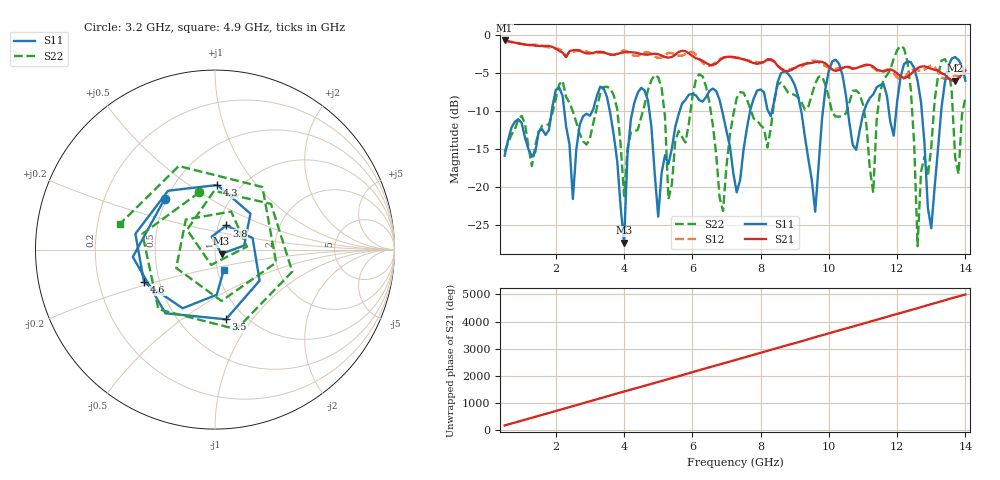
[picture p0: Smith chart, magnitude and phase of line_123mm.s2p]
!Created with skrf (http://scikit-rf.org).
# GHz S RI R 50.0
!freq ReS11 ImS11 ReS21 ImS21 ReS12 ImS12 ReS22 ImS22
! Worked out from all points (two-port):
!   136 points, 500 MHz to 14 GHz, reference 50 ohm
!   highest |S21| = -0.66 dB at 500 MHz (marker M1); lowest = -5.9 dB at 13.7 GHz (marker M2)
!   |S21| within 3 dB of the highest: start of sweep to 6.42 GHz; 6.71 GHz to 7.823 GHz (1.113 GHz wide, 15.3 % of centre)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
!   lowest |S11| = -27.3 dB at 4 GHz (marker M3), VSWR 1.09, Z = 53.7 - j2.53 ohm
!   |S11| at or under -10 dB: start of sweep to 1.879 GHz; 2.252 GHz to 3.063 GHz (811.7 MHz wide, 30.5 % of centre); 4.742 GHz to 5.625 GHz (883.3 MHz wide, 17 % of centre)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
!   |S22| runs from -27.7 to -1.4 dB; largest |S21 - S12| = 0.059
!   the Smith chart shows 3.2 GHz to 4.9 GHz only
!   S11 on the Smith chart (normalised r, x): 3.2 GHz: 0.49, +0.33; 3.5 GHz: 0.82, -0.75; 3.8 GHz: 1.09, +0.30; 4.3 GHz: 0.79, +0.65; 4.6 GHz: 0.41, -0.18; 4.9 GHz: 1.08, -0.24
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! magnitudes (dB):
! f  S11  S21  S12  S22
! 500 MHz  -15.8  -0.7  -0.7  -15.3
! 2.8 GHz  -10.6  -2.2  -2.0  -13.9
! 3.2 GHz  -8.0  -2.2  -2.3  -9.6
! 3.5 GHz  -8.1  -2.4  -2.4  -6.8
! 3.8 GHz  -16.6  -2.4  -2.4  -9.7
! 4 GHz  -27.3  -2.2  -2.0  -21.1
! 4.3 GHz  -8.9  -2.2  -2.7  -12.6
! 4.6 GHz  -7.2  -2.5  -2.2  -9.2
! 4.9 GHz  -18.3  -2.4  -2.8  -5.2
! 5 GHz  -23.8  -2.5  -3.0  -5.5
! 5.3 GHz  -16.9  -2.9  -2.3  -21.6
! 7.3 GHz  -20.6  -2.9  -2.9  -8.2
! 8.7 GHz  -4.7  -4.7  -4.5  -6.8
! 9.5 GHz  -19.0  -3.6  -3.3  -7.8
! 11.3 GHz  -7.8  -4.1  -4.2  -20.7
! 11.8 GHz  -11.4  -4.5  -4.5  -4.5
! 12.3 GHz  -3.4  -5.5  -5.1  -3.4
! 12.6 GHz  -6.0  -4.3  -4.6  -27.7
! 13 GHz  -25.4  -4.4  -4.0  -14.7
! 13.4 GHz  -6.2  -5.2  -5.7  -3.1
! 13.7 GHz  -2.8  -5.9  -5.2  -16.0
! 14 GHz  -6.0  -4.6  -5.5  -8.3
